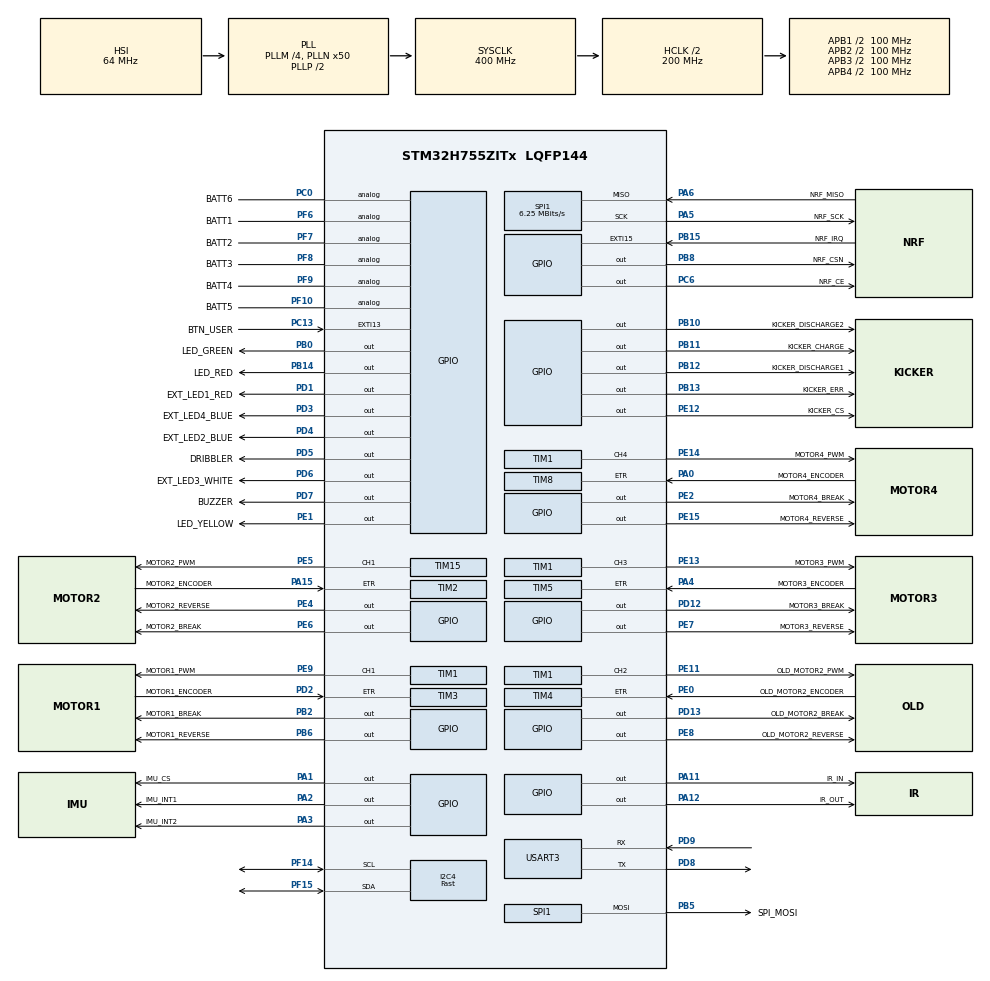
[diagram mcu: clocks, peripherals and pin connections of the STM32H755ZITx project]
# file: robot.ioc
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CortexM4.IPs=CORTEX_M4\:I,DEBUG,FATFS_M4\:I,FREERTOS_M4\:I,IWDG2\:I,OPENAMP_M4\:I,PDM2PCM_M4\:I,PWR,RCC,RESMGR_UTILITY,SYS_M4\:I,USB_DEVICE_M4\:I,USB_HOST_M4\:I,VREFBUF,WWDG2\:I,GPIO,DMA,BDMA,MDMA,NVIC2\:I
CortexM7.IPs=CORTEX_M7\:I,DEBUG\:I,FATFS_M7\:I,FREERTOS_M7\:I,IWDG1\:I,OPENAMP_M7\:I,PDM2PCM_M7\:I,PWR\:I,RCC\:I,RESMGR_UTILITY\:I,SYS\:I,USB_DEVICE_M7\:I,USB_HOST_M7\:I,VREFBUF\:I,WWDG1\:I,GPIO\:I,DMA\:I,BDMA\:I,MDMA\:I,NVIC1\:I,USART3\:I,ADC3\:I,TIM1\:I,SPI1\:I,TIM3\:I,TIM4\:I,TIM5\:I,TIM8\:I,TIM12\:I,TIM15\:I,TIM2\:I,I2C4\:I
CortexM7.Pins=PE2,PE4,PE6,PC13,PB0,PB2,PE7,PE8,PE15,PB10,PB11,PB12,PB14,PB15,PD12,PD13,PC6,PD5,PB6,PB8,PE1
I2C4.I2C_Speed_Mode=I2C_Fast
I2C4.Timing=0x009034B6
Mcu.Family=STM32H7
Mcu.Name=STM32H755ZITx
Mcu.Package=LQFP144
NVIC1.EXTI15_10_IRQn=true\:7\:0\:true\:false\:true\:true\:true\:true
NVIC1.PriorityGroup=NVIC_PRIORITYGROUP_4
NVIC1.TIM8_BRK_TIM12_IRQn=true\:0\:0\:false\:false\:true\:true\:true\:true
NVIC1.USART3_IRQn=true\:0\:0\:false\:false\:true\:true\:true\:true
NVIC2.PriorityGroup=NVIC_PRIORITYGROUP_4
PA0.GPIO_Label=MOTOR4_ENCODER
PA0.PinAttribute=CortexM7
PA0.Signal=S_TIM8_ETR
PA1.GPIO_Label=IMU_CS
PA1.PinAttribute=Free
PA1.Signal=GPIO_Output
PA11.GPIO_Label=IR_IN
PA11.PinAttribute=Free
PA11.Signal=GPIO_Output
PA12.GPIO_Label=IR_OUT
PA12.PinAttribute=Free
PA12.Signal=GPIO_Output
PA15\ (JTDI).GPIO_Label=MOTOR2_ENCODER
PA15\ (JTDI).PinAttribute=CortexM7
PA15\ (JTDI).Signal=S_TIM2_CH1_ETR
PA2.GPIO_Label=IMU_INT1
PA2.PinAttribute=Free
PA2.Signal=GPIO_Output
PA3.GPIO_Label=IMU_INT2
PA3.PinAttribute=Free
PA3.Signal=GPIO_Output
PA4.GPIO_Label=MOTOR3_ENCODER
PA4.PinAttribute=CortexM7
PA4.Signal=S_TIM5_ETR
PA5.GPIO_Label=NRF_SCK
PA5.Mode=Full_Duplex_Master
PA5.PinAttribute=CortexM7
PA5.Signal=SPI1_SCK
PA6.GPIO_Label=NRF_MISO
PA6.Mode=Full_Duplex_Master
PA6.PinAttribute=CortexM7
PA6.Signal=SPI1_MISO
PB0.GPIO_Label=LED_GREEN
PB0.PinAttribute=CortexM7
PB0.Signal=GPIO_Output
PB10.GPIO_Label=KICKER_DISCHARGE2
PB10.PinAttribute=CortexM7
PB10.PinState=GPIO_PIN_SET
PB10.Signal=GPIO_Output
PB11.GPIO_Label=KICKER_CHARGE
PB11.PinAttribute=CortexM7
PB11.Signal=GPIO_Output
PB12.GPIO_Label=KICKER_DISCHARGE1
PB12.PinAttribute=CortexM7
PB12.PinState=GPIO_PIN_SET
PB12.Signal=GPIO_Output
PB13.GPIO_Label=KICKER_ERR
PB13.PinAttribute=Free
PB13.Signal=GPIO_Output
PB14.GPIO_Label=LED_RED
PB14.PinAttribute=CortexM7
PB14.PinState=GPIO_PIN_RESET
PB14.Signal=GPIO_Output
PB15.GPIO_Label=NRF_IRQ
PB15.GPIO_ModeDefaultEXTI=GPIO_MODE_IT_FALLING
PB15.PinAttribute=CortexM7
PB15.Signal=GPXTI15
PB2.GPIO_Label=MOTOR1_BREAK
PB2.PinAttribute=CortexM7
PB2.Signal=GPIO_Output
PB5.GPIO_Label=SPI_MOSI
PB5.Mode=Full_Duplex_Master
PB5.PinAttribute=CortexM7
PB5.Signal=SPI1_MOSI
PB6.GPIO_Label=MOTOR1_REVERSE
PB6.PinAttribute=CortexM7
PB6.Signal=GPIO_Output
PB8.GPIO_Label=NRF_CSN
PB8.PinAttribute=CortexM7
PB8.Signal=GPIO_Output
PC0.GPIO_Label=BATT6
PC0.PinAttribute=Free
PC0.Signal=GPIO_Analog
PC13.GPIO_Label=BTN_USER
PC13.PinAttribute=CortexM7
PC13.Signal=GPXTI13
PC6.GPIO_Label=NRF_CE
PC6.PinAttribute=CortexM7
PC6.Signal=GPIO_Output
PD1.GPIO_Label=EXT_LED1_RED
PD1.PinAttribute=Free
PD1.Signal=GPIO_Output
PD12.GPIO_Label=MOTOR3_BREAK
PD12.PinAttribute=CortexM7
PD12.Signal=GPIO_Output
PD13.GPIO_Label=OLD_MOTOR2_BREAK
PD13.PinAttribute=CortexM7
PD13.Signal=GPIO_Output
PD2.GPIO_Label=MOTOR1_ENCODER
PD2.PinAttribute=CortexM7
PD2.Signal=S_TIM3_ETR
PD3.GPIO_Label=EXT_LED4_BLUE
PD3.PinAttribute=Free
PD3.Signal=GPIO_Output
PD4.GPIO_Label=EXT_LED2_BLUE
PD4.PinAttribute=Free
PD4.Signal=GPIO_Output
PD5.GPIO_Label=DRIBBLER
PD5.PinAttribute=CortexM7
PD5.Signal=GPIO_Output
PD6.GPIO_Label=EXT_LED3_WHITE
PD6.PinAttribute=Free
PD6.Signal=GPIO_Output
PD7.GPIO_Label=BUZZER
PD7.Signal=GPIO_Output
PD8.GPIO_Speed=GPIO_SPEED_FREQ_LOW
PD8.Mode=Asynchronous
PD8.PinAttribute=CortexM7
PD8.Signal=USART3_TX
PD9.GPIO_Speed=GPIO_SPEED_FREQ_LOW
PD9.Mode=Asynchronous
PD9.PinAttribute=CortexM7
PD9.Signal=USART3_RX
PE0.GPIO_Label=OLD_MOTOR2_ENCODER
PE0.PinAttribute=CortexM7
PE0.Signal=S_TIM4_ETR
PE1.GPIO_Label=LED_YELLOW
PE1.PinAttribute=CortexM7
PE1.PinState=GPIO_PIN_SET
PE1.Signal=GPIO_Output
PE11.GPIO_Label=OLD_MOTOR2_PWM
PE11.PinAttribute=CortexM7
PE11.Signal=S_TIM1_CH2
PE12.GPIO_Label=KICKER_CS
PE12.PinAttribute=Free
PE12.Signal=GPIO_Output
PE13.GPIO_Label=MOTOR3_PWM
PE13.PinAttribute=CortexM7
PE13.Signal=S_TIM1_CH3
PE14.GPIO_Label=MOTOR4_PWM
PE14.PinAttribute=CortexM7
PE14.Signal=S_TIM1_CH4
PE15.GPIO_Label=MOTOR4_REVERSE
PE15.PinAttribute=CortexM7
PE15.Signal=GPIO_Output
PE2.GPIO_Label=MOTOR4_BREAK
PE2.PinAttribute=CortexM7
PE2.Signal=GPIO_Output
PE4.GPIO_Label=MOTOR2_REVERSE
PE4.PinAttribute=CortexM7
PE4.Signal=GPIO_Output
PE5.GPIO_Label=MOTOR2_PWM
PE5.PinAttribute=CortexM7
PE5.Signal=S_TIM15_CH1
PE6.GPIO_Label=MOTOR2_BREAK
PE6.PinAttribute=CortexM7
PE6.Signal=GPIO_Output
PE7.GPIO_Label=MOTOR3_REVERSE
PE7.PinAttribute=CortexM7
PE7.Signal=GPIO_Output
PE8.GPIO_Label=OLD_MOTOR2_REVERSE
PE8.PinAttribute=CortexM7
PE8.Signal=GPIO_Output
PE9.GPIO_Label=MOTOR1_PWM
PE9.PinAttribute=CortexM7
PE9.Signal=S_TIM1_CH1
PF10.GPIO_Label=BATT5
PF10.PinAttribute=Free
PF10.Signal=GPIO_Analog
PF14.Mode=I2C
PF14.PinAttribute=CortexM7
PF14.Signal=I2C4_SCL
PF15.Mode=I2C
PF15.PinAttribute=CortexM7
PF15.Signal=I2C4_SDA
PF6.GPIO_Label=BATT1
PF6.PinAttribute=Free
PF6.Signal=GPIO_Analog
PF7.GPIO_Label=BATT2
PF7.PinAttribute=Free
PF7.Signal=GPIO_Analog
PF8.GPIO_Label=BATT3
PF8.PinAttribute=Free
PF8.Signal=GPIO_Analog
PF9.GPIO_Label=BATT4
PF9.PinAttribute=Free
PF9.Signal=GPIO_Analog
ProjectManager.HeapSize=M4-0x200,M7-0x200
ProjectManager.StackSize=M4-0x400,M7-0x400
ProjectManager.TargetToolchain=Makefile
RCC.ADCFreq_Value=129000000
RCC.APB1Freq_Value=100000000
RCC.APB2Freq_Value=100000000
RCC.APB3Freq_Value=100000000
RCC.APB4Freq_Value=100000000
RCC.CortexFreq_Value=400000000
RCC.D1PPRE=RCC_APB3_DIV2
RCC.D2PPRE1=RCC_APB1_DIV2
RCC.D2PPRE2=RCC_APB2_DIV2
RCC.D3PPRE=RCC_APB4_DIV2
RCC.DIVM1=4
RCC.DIVN1=50
RCC.DIVQ1=4
RCC.HCLKFreq_Value=200000000
RCC.HPRE=RCC_HCLK_DIV2
RCC.PLL2FRACN=0
RCC.PLL3FRACN=0
RCC.PLLFRACN=0
RCC.SYSCLKFreq_VALUE=400000000
RCC.SYSCLKSource=RCC_SYSCLKSOURCE_PLLCLK
RCC.USART234578CLockSelection=RCC_USART234578CLKSOURCE_HSI
RCC.USBFreq_Value=200000000
SH.S_TIM15_CH1.0=TIM15_CH1,PWM Generation1 CH1
SH.S_TIM1_CH1.0=TIM1_CH1,PWM Generation1 CH1
SH.S_TIM1_CH2.0=TIM1_CH2,PWM Generation2 CH2
SH.S_TIM1_CH3.0=TIM1_CH3,PWM Generation3 CH3
SH.S_TIM1_CH4.0=TIM1_CH4,PWM Generation4 CH4
SH.S_TIM2_CH1_ETR.0=TIM2_ETR,ClockSourceETR_Mode2
SH.S_TIM3_ETR.0=TIM3_ETR,ClockSourceETR_Mode2
SH.S_TIM4_ETR.0=TIM4_ETR,ClockSourceETR_Mode2
SH.S_TIM5_ETR.0=TIM5_ETR,ClockSourceETR_Mode2
SH.S_TIM8_ETR.0=TIM8_ETR,ClockSourceETR_Mode2
SPI1.BaudRatePrescaler=SPI_BAUDRATEPRESCALER_32
SPI1.CalculateBaudRate=6.25 MBits/s
SPI1.DataSize=SPI_DATASIZE_8BIT
SPI1.Direction=SPI_DIRECTION_2LINES
SPI1.Mode=SPI_MODE_MASTER
SPI1.VirtualType=VM_MASTER
SYS.userName=SYS_M7
TIM1.Channel-PWM\ Generation1\ CH1=TIM_CHANNEL_1
TIM1.Channel-PWM\ Generation2\ CH2=TIM_CHANNEL_2
TIM1.Channel-PWM\ Generation3\ CH3=TIM_CHANNEL_3
TIM1.Channel-PWM\ Generation4\ CH4=TIM_CHANNEL_4
TIM1.Period=1999
TIM1.Prescaler=0
TIM1.Pulse-PWM\ Generation1\ CH1=0
TIM1.Pulse-PWM\ Generation3\ CH3=0
TIM1.Pulse-PWM\ Generation4\ CH4=0
TIM12.Period=9999
TIM12.Prescaler=19
TIM15.Channel-PWM\ Generation1\ CH1=TIM_CHANNEL_1
TIM15.Period=1999
TIM8.Period=65535
TIM8.Prescaler=0
USART3.ClockPrescaler=PRESCALER_DIV32
USART3.VirtualMode-Asynchronous=VM_ASYNC
VP_SYS_M4_VS_Systick.Mode=SysTick
VP_TIM12_VS_ClockSourceINT.Mode=Internal
VP_TIM12_VS_ClockSourceITR.Mode=TriggerSource_ITR0
board=custom

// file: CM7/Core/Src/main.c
/* USER CODE BEGIN Header */
/**
 ******************************************************************************
 * @file           : main.c
 * @brief          : Main program body
 ******************************************************************************
 * @attention
 *
 * Copyright (c) 2023 STMicroelectronics.
 * All rights reserved.
 *
 * This software is licensed under terms that can be found in the LICENSE file
 * in the root directory of this software component.
 * If no LICENSE file comes with this software, it is provided AS-IS.
 *
 ******************************************************************************
 */
/* USER CODE END Header */
#include "main.h"

/* USER CODE BEGIN Includes */
#include "com.h"
#include "imu.h"
#include "kicker.h"
#include "state_estimator.h"
#include "log.h"
#include "motor.h"
#include "nav.h"
#include "stm32h7xx_hal_gpio.h"
#include "ui.h"
#include "pos_follow.h"
#include "state_estimator.h"
/* USER CODE END Includes */

/* USER CODE BEGIN PD */
#ifndef HSEM_ID_0
#define HSEM_ID_0 (0U) /* HW semaphore 0*/
#endif
/* USER CODE END PD */

I2C_HandleTypeDef hi2c4;

SPI_HandleTypeDef hspi1;

TIM_HandleTypeDef htim1;
TIM_HandleTypeDef htim2;
TIM_HandleTypeDef htim3;
TIM_HandleTypeDef htim4;
TIM_HandleTypeDef htim5;
TIM_HandleTypeDef htim8;
TIM_HandleTypeDef htim12;
TIM_HandleTypeDef htim15;

UART_HandleTypeDef huart3;

/* USER CODE BEGIN PV */

I2C_HandleTypeDef hi2c4; // For IMU

/**
 * Used to set tasks to be performed within the main
 * loop of the firmware. It's written to whenever we
 * want to queue such a task (see com.c).
 */
volatile atomic_uint main_tasks;

volatile atomic_uint connected = 0;

uint8_t NRF_AVAILABLE = 0;

static LOG_Module internal_log_mod;
/* USER CODE END PV */

void SystemClock_Config(void);
static void MX_GPIO_Init(void);
static void MX_USART3_UART_Init(void);
static void MX_TIM1_Init(void);
static void MX_SPI1_Init(void);
static void MX_TIM3_Init(void);
static void MX_TIM5_Init(void);
static void MX_TIM8_Init(void);
static void MX_TIM12_Init(void);
static void MX_TIM2_Init(void);
static void MX_TIM15_Init(void);
static void MX_TIM4_Init(void);
static void MX_I2C4_Init(void);
/* USER CODE BEGIN PFP */

static void I2C4_Init(void);

/* USER CODE END PFP */

/* USER CODE BEGIN 0 */
// Handle callbacks
void HAL_GPIO_EXTI_Callback(uint16_t GPIO_Pin) {
  __disable_irq();
  switch (GPIO_Pin) {
  case BTN_USER_Pin:
    COM_RF_PrintInfo();
    break;
  case NRF_IRQ_Pin:
    COM_RF_HandleIRQ();
    break;
  default:
    LOG_WARNING("Unhandled interrupt on pin %d...\r\n", GPIO_Pin);
    break;
  }
  __enable_irq();
}

void HAL_UART_RxCpltCallback(UART_HandleTypeDef *huart) { UI_RxCallback(); }
/* USER CODE END 0 */

int main(void)
{
  /* USER CODE BEGIN 1 */
  IMU_AccelVec3 acc;
  IMU_GyroVec3 gyr;

  /* USER CODE END 1 */
/* USER CODE BEGIN Boot_Mode_Sequence_0 */

/* USER CODE END Boot_Mode_Sequence_0 */

/* USER CODE BEGIN Boot_Mode_Sequence_1 */

/* USER CODE END Boot_Mode_Sequence_1 */
  /* MCU Configuration--------------------------------------------------------*/

  /* Reset of all peripherals, Initializes the Flash interface and the Systick. */
  HAL_Init();

  /* Configure the system clock */
  SystemClock_Config();
/* USER CODE BEGIN Boot_Mode_Sequence_2 */
  /* When system initialization is finished, Cortex-M7 will release Cortex-M4 by
  means of HSEM notification */
  /*HW semaphore Clock enable*/
  __HAL_RCC_HSEM_CLK_ENABLE();
  /*Take HSEM */
  HAL_HSEM_FastTake(HSEM_ID_0);
  /*Release HSEM in order to notify the CPU2(CM4)*/
  HAL_HSEM_Release(HSEM_ID_0, 0);
  /* wait until CPU2 wakes up from stop mode */
  int32_t timeout = 0xFFFF;
  while ((__HAL_RCC_GET_FLAG(RCC_FLAG_D2CKRDY) == RESET) && (timeout-- > 0))
    ;
  if (timeout < 0) {
    Error_Handler();
  }
/* USER CODE END Boot_Mode_Sequence_2 */

  /* Initialize all configured peripherals */
  MX_GPIO_Init();
  MX_USART3_UART_Init();
  MX_TIM1_Init();
  MX_SPI1_Init();
  MX_TIM3_Init();
  MX_TIM5_Init();
  MX_TIM8_Init();
  MX_TIM12_Init();
  MX_TIM2_Init();
  MX_TIM15_Init();
  MX_TIM4_Init();
  MX_I2C4_Init();
  /* USER CODE BEGIN 2 */

  // Initialise modules
  LOG_Init(&huart3);
  LOG_InitModule(&internal_log_mod, "MAIN", LOG_LEVEL_INFO, 0);
  LOG_INFO("My ID is %i (%li %li %li)\r\n", COM_Get_ID(), HAL_GetUIDw0(), HAL_GetUIDw1(), HAL_GetUIDw2());
  POS_Init();
#ifdef PCB_MOTOR
  NAV_Init(&htim12, &htim1, &htim15, &htim3, &htim2, &htim5, &htim8);
#else
  NAV_Init(&htim12, &htim1, &htim15, &htim3, &htim4, &htim5, &htim8);
#endif
  MOTOR_Init(&htim1);
  KICKER_Init();
  IMU_Init(&hi2c4);
  STATE_Init();
  STATE_calibrate_imu_gyr();
  UI_Init(&huart3);
  COM_Init(&hspi1, &NRF_AVAILABLE);

  HAL_GPIO_WritePin(LED_YELLOW_GPIO_Port, LED_YELLOW_Pin, GPIO_PIN_RESET);
  HAL_GPIO_WritePin(LED_GREEN_GPIO_Port, LED_GREEN_Pin, GPIO_PIN_SET);
  LOG_INFO("Startup done\r\n");
  /* USER CODE END 2 */

  /* Infinite loop */
  /* USER CODE BEGIN WHILE */

  uint32_t now = HAL_GetTick();
  bool on = false;

  while (1) {
    NAV_TEST_Set_robot_cmd(1.f, 0.f, 0.f);
    continue;
    if (HAL_GetTick() - now > 1000) {
      if (on) {
        HAL_GPIO_WritePin(LED_YELLOW_GPIO_Port, LED_YELLOW_Pin, GPIO_PIN_RESET);
      } else {
        HAL_GPIO_WritePin(LED_YELLOW_GPIO_Port, LED_YELLOW_Pin, GPIO_PIN_SET);
      }
      on = !on;
      now = HAL_GetTick();
    }

    /* USER CODE END WHILE */

  }
}

void SystemClock_Config(void)
{
  RCC_OscInitTypeDef RCC_OscInitStruct = {0};
  RCC_ClkInitTypeDef RCC_ClkInitStruct = {0};

  /** Supply configuration update enable
  */
  HAL_PWREx_ConfigSupply(PWR_DIRECT_SMPS_SUPPLY);

  /** Configure the main internal regulator output voltage
  */
  __HAL_PWR_VOLTAGESCALING_CONFIG(PWR_REGULATOR_VOLTAGE_SCALE1);

  while(!__HAL_PWR_GET_FLAG(PWR_FLAG_VOSRDY)) {}

  /** Initializes the RCC Oscillators according to the specified parameters
  * in the RCC_OscInitTypeDef structure.
  */
  RCC_OscInitStruct.OscillatorType = RCC_OSCILLATORTYPE_HSI;
  RCC_OscInitStruct.HSIState = RCC_HSI_DIV1;
  RCC_OscInitStruct.HSICalibrationValue = RCC_HSICALIBRATION_DEFAULT;
  RCC_OscInitStruct.PLL.PLLState = RCC_PLL_ON;
  RCC_OscInitStruct.PLL.PLLSource = RCC_PLLSOURCE_HSI;
  RCC_OscInitStruct.PLL.PLLM = 4;
  RCC_OscInitStruct.PLL.PLLN = 50;
  RCC_OscInitStruct.PLL.PLLP = 2;
  RCC_OscInitStruct.PLL.PLLQ = 4;
  RCC_OscInitStruct.PLL.PLLR = 2;
  RCC_OscInitStruct.PLL.PLLRGE = RCC_PLL1VCIRANGE_3;
  RCC_OscInitStruct.PLL.PLLVCOSEL = RCC_PLL1VCOWIDE;
  RCC_OscInitStruct.PLL.PLLFRACN = 0;
  if (HAL_RCC_OscConfig(&RCC_OscInitStruct) != HAL_OK)
  {
    Error_Handler();
  }

  /** Initializes the CPU, AHB and APB buses clocks
  */
  RCC_ClkInitStruct.ClockType = RCC_CLOCKTYPE_HCLK|RCC_CLOCKTYPE_SYSCLK
                              |RCC_CLOCKTYPE_PCLK1|RCC_CLOCKTYPE_PCLK2
                              |RCC_CLOCKTYPE_D3PCLK1|RCC_CLOCKTYPE_D1PCLK1;
  RCC_ClkInitStruct.SYSCLKSource = RCC_SYSCLKSOURCE_PLLCLK;
  RCC_ClkInitStruct.SYSCLKDivider = RCC_SYSCLK_DIV1;
  RCC_ClkInitStruct.AHBCLKDivider = RCC_HCLK_DIV2;
  RCC_ClkInitStruct.APB3CLKDivider = RCC_APB3_DIV2;
  RCC_ClkInitStruct.APB1CLKDivider = RCC_APB1_DIV2;
  RCC_ClkInitStruct.APB2CLKDivider = RCC_APB2_DIV2;
  RCC_ClkInitStruct.APB4CLKDivider = RCC_APB4_DIV2;

  if (HAL_RCC_ClockConfig(&RCC_ClkInitStruct, FLASH_LATENCY_2) != HAL_OK)
  {
    Error_Handler();
  }
}

static void MX_I2C4_Init(void)
{

  /* USER CODE BEGIN I2C4_Init 0 */
/* Initialize I2C for IMU */
  __HAL_RCC_I2C4_CLK_ENABLE();

  hi2c4.Instance = I2C4;
  hi2c4.Init.Timing = 0x009034B6; // 0x10C0ECFF;
  hi2c4.Init.OwnAddress1 = 0;
  hi2c4.Init.AddressingMode = I2C_ADDRESSINGMODE_7BIT;
  hi2c4.Init.DualAddressMode = I2C_DUALADDRESS_DISABLE;
  hi2c4.Init.GeneralCallMode = I2C_GENERALCALL_DISABLE;
  hi2c4.Init.NoStretchMode = I2C_NOSTRETCH_DISABLE;

  if (HAL_I2C_Init(&hi2c4) != HAL_OK) {
    Error_Handler();
  }

  if (HAL_I2CEx_ConfigAnalogFilter(&hi2c4, I2C_ANALOGFILTER_ENABLE) != HAL_OK) {
    Error_Handler();
  }

  if (HAL_I2CEx_ConfigDigitalFilter(&hi2c4, 0) != HAL_OK) {
    Error_Handler();
  }
  /* USER CODE END I2C4_Init 0 */

  hi2c4.Instance = I2C4;
  hi2c4.Init.Timing = 0x009034B6;
  hi2c4.Init.OwnAddress1 = 0;
  hi2c4.Init.AddressingMode = I2C_ADDRESSINGMODE_7BIT;
  hi2c4.Init.DualAddressMode = I2C_DUALADDRESS_DISABLE;
  hi2c4.Init.OwnAddress2 = 0;
  hi2c4.Init.OwnAddress2Masks = I2C_OA2_NOMASK;
  hi2c4.Init.GeneralCallMode = I2C_GENERALCALL_DISABLE;
  hi2c4.Init.NoStretchMode = I2C_NOSTRETCH_DISABLE;
  if (HAL_I2C_Init(&hi2c4) != HAL_OK)
  {
    Error_Handler();
  }

  /** Configure Analogue filter
  */
  if (HAL_I2CEx_ConfigAnalogFilter(&hi2c4, I2C_ANALOGFILTER_ENABLE) != HAL_OK)
  {
    Error_Handler();
  }

  /** Configure Digital filter
  */
  if (HAL_I2CEx_ConfigDigitalFilter(&hi2c4, 0) != HAL_OK)
  {
    Error_Handler();
  }

}

static void MX_SPI1_Init(void)
{

  /* SPI1 parameter configuration*/
  hspi1.Instance = SPI1;
  hspi1.Init.Mode = SPI_MODE_MASTER;
  hspi1.Init.Direction = SPI_DIRECTION_2LINES;
  hspi1.Init.DataSize = SPI_DATASIZE_8BIT;
  hspi1.Init.CLKPolarity = SPI_POLARITY_LOW;
  hspi1.Init.CLKPhase = SPI_PHASE_1EDGE;
  hspi1.Init.NSS = SPI_NSS_SOFT;
  hspi1.Init.BaudRatePrescaler = SPI_BAUDRATEPRESCALER_32;
  hspi1.Init.FirstBit = SPI_FIRSTBIT_MSB;
  hspi1.Init.TIMode = SPI_TIMODE_DISABLE;
  hspi1.Init.CRCCalculation = SPI_CRCCALCULATION_DISABLE;
  hspi1.Init.CRCPolynomial = 0x0;
  hspi1.Init.NSSPMode = SPI_NSS_PULSE_ENABLE;
  hspi1.Init.NSSPolarity = SPI_NSS_POLARITY_LOW;
  hspi1.Init.FifoThreshold = SPI_FIFO_THRESHOLD_01DATA;
  hspi1.Init.TxCRCInitializationPattern = SPI_CRC_INITIALIZATION_ALL_ZERO_PATTERN;
  hspi1.Init.RxCRCInitializationPattern = SPI_CRC_INITIALIZATION_ALL_ZERO_PATTERN;
  hspi1.Init.MasterSSIdleness = SPI_MASTER_SS_IDLENESS_00CYCLE;
  hspi1.Init.MasterInterDataIdleness = SPI_MASTER_INTERDATA_IDLENESS_00CYCLE;
  hspi1.Init.MasterReceiverAutoSusp = SPI_MASTER_RX_AUTOSUSP_DISABLE;
  hspi1.Init.MasterKeepIOState = SPI_MASTER_KEEP_IO_STATE_DISABLE;
  hspi1.Init.IOSwap = SPI_IO_SWAP_DISABLE;
  if (HAL_SPI_Init(&hspi1) != HAL_OK)
  {
    Error_Handler();
  }

}

static void MX_TIM1_Init(void)
{

  TIM_MasterConfigTypeDef sMasterConfig = {0};
  TIM_OC_InitTypeDef sConfigOC = {0};
  TIM_BreakDeadTimeConfigTypeDef sBreakDeadTimeConfig = {0};

  htim1.Instance = TIM1;
  htim1.Init.Prescaler = 0;
  htim1.Init.CounterMode = TIM_COUNTERMODE_UP;
  htim1.Init.Period = 1999;
  htim1.Init.ClockDivision = TIM_CLOCKDIVISION_DIV1;
  htim1.Init.RepetitionCounter = 0;
  htim1.Init.AutoReloadPreload = TIM_AUTORELOAD_PRELOAD_DISABLE;
  if (HAL_TIM_PWM_Init(&htim1) != HAL_OK)
  {
    Error_Handler();
  }
  sMasterConfig.MasterOutputTrigger = TIM_TRGO_RESET;
  sMasterConfig.MasterOutputTrigger2 = TIM_TRGO2_RESET;
  sMasterConfig.MasterSlaveMode = TIM_MASTERSLAVEMODE_DISABLE;
  if (HAL_TIMEx_MasterConfigSynchronization(&htim1, &sMasterConfig) != HAL_OK)
  {
    Error_Handler();
  }
  sConfigOC.OCMode = TIM_OCMODE_PWM1;
  sConfigOC.Pulse = 0;
  sConfigOC.OCPolarity = TIM_OCPOLARITY_HIGH;
  sConfigOC.OCNPolarity = TIM_OCNPOLARITY_HIGH;
  sConfigOC.OCFastMode = TIM_OCFAST_DISABLE;
  sConfigOC.OCIdleState = TIM_OCIDLESTATE_RESET;
  sConfigOC.OCNIdleState = TIM_OCNIDLESTATE_RESET;
  if (HAL_TIM_PWM_ConfigChannel(&htim1, &sConfigOC, TIM_CHANNEL_1) != HAL_OK)
  {
    Error_Handler();
  }
  if (HAL_TIM_PWM_ConfigChannel(&htim1, &sConfigOC, TIM_CHANNEL_2) != HAL_OK)
  {
    Error_Handler();
  }
  if (HAL_TIM_PWM_ConfigChannel(&htim1, &sConfigOC, TIM_CHANNEL_3) != HAL_OK)
  {
    Error_Handler();
  }
  if (HAL_TIM_PWM_ConfigChannel(&htim1, &sConfigOC, TIM_CHANNEL_4) != HAL_OK)
  {
    Error_Handler();
  }
  sBreakDeadTimeConfig.OffStateRunMode = TIM_OSSR_DISABLE;
  sBreakDeadTimeConfig.OffStateIDLEMode = TIM_OSSI_DISABLE;
  sBreakDeadTimeConfig.LockLevel = TIM_LOCKLEVEL_OFF;
  sBreakDeadTimeConfig.DeadTime = 0;
  sBreakDeadTimeConfig.BreakState = TIM_BREAK_DISABLE;
  sBreakDeadTimeConfig.BreakPolarity = TIM_BREAKPOLARITY_HIGH;
  sBreakDeadTimeConfig.BreakFilter = 0;
  sBreakDeadTimeConfig.Break2State = TIM_BREAK2_DISABLE;
  sBreakDeadTimeConfig.Break2Polarity = TIM_BREAK2POLARITY_HIGH;
  sBreakDeadTimeConfig.Break2Filter = 0;
  sBreakDeadTimeConfig.AutomaticOutput = TIM_AUTOMATICOUTPUT_DISABLE;
  if (HAL_TIMEx_ConfigBreakDeadTime(&htim1, &sBreakDeadTimeConfig) != HAL_OK)
  {
    Error_Handler();
  }
  HAL_TIM_MspPostInit(&htim1);

}

static void MX_TIM2_Init(void)
{

  TIM_ClockConfigTypeDef sClockSourceConfig = {0};
  TIM_MasterConfigTypeDef sMasterConfig = {0};

  htim2.Instance = TIM2;
  htim2.Init.Prescaler = 0;
  htim2.Init.CounterMode = TIM_COUNTERMODE_UP;
  htim2.Init.Period = 4294967295;
  htim2.Init.ClockDivision = TIM_CLOCKDIVISION_DIV1;
  htim2.Init.AutoReloadPreload = TIM_AUTORELOAD_PRELOAD_DISABLE;
  if (HAL_TIM_Base_Init(&htim2) != HAL_OK)
  {
    Error_Handler();
  }
  sClockSourceConfig.ClockSource = TIM_CLOCKSOURCE_ETRMODE2;
  sClockSourceConfig.ClockPolarity = TIM_CLOCKPOLARITY_NONINVERTED;
  sClockSourceConfig.ClockPrescaler = TIM_CLOCKPRESCALER_DIV1;
  sClockSourceConfig.ClockFilter = 0;
  if (HAL_TIM_ConfigClockSource(&htim2, &sClockSourceConfig) != HAL_OK)
  {
    Error_Handler();
  }
  sMasterConfig.MasterOutputTrigger = TIM_TRGO_RESET;
  sMasterConfig.MasterSlaveMode = TIM_MASTERSLAVEMODE_DISABLE;
  if (HAL_TIMEx_MasterConfigSynchronization(&htim2, &sMasterConfig) != HAL_OK)
  {
    Error_Handler();
  }

}

static void MX_TIM3_Init(void)
{

  TIM_ClockConfigTypeDef sClockSourceConfig = {0};
  TIM_MasterConfigTypeDef sMasterConfig = {0};

  htim3.Instance = TIM3;
  htim3.Init.Prescaler = 0;
  htim3.Init.CounterMode = TIM_COUNTERMODE_UP;
  htim3.Init.Period = 65535;
  htim3.Init.ClockDivision = TIM_CLOCKDIVISION_DIV1;
  htim3.Init.AutoReloadPreload = TIM_AUTORELOAD_PRELOAD_DISABLE;
  if (HAL_TIM_Base_Init(&htim3) != HAL_OK)
  {
    Error_Handler();
  }
  sClockSourceConfig.ClockSource = TIM_CLOCKSOURCE_ETRMODE2;
  sClockSourceConfig.ClockPolarity = TIM_CLOCKPOLARITY_NONINVERTED;
  sClockSourceConfig.ClockPrescaler = TIM_CLOCKPRESCALER_DIV1;
  sClockSourceConfig.ClockFilter = 0;
  if (HAL_TIM_ConfigClockSource(&htim3, &sClockSourceConfig) != HAL_OK)
  {
    Error_Handler();
  }
  sMasterConfig.MasterOutputTrigger = TIM_TRGO_RESET;
  sMasterConfig.MasterSlaveMode = TIM_MASTERSLAVEMODE_DISABLE;
  if (HAL_TIMEx_MasterConfigSynchronization(&htim3, &sMasterConfig) != HAL_OK)
  {
    Error_Handler();
  }

}

static void MX_TIM4_Init(void)
{

  TIM_ClockConfigTypeDef sClockSourceConfig = {0};
  TIM_MasterConfigTypeDef sMasterConfig = {0};

  htim4.Instance = TIM4;
  htim4.Init.Prescaler = 0;
  htim4.Init.CounterMode = TIM_COUNTERMODE_UP;
  htim4.Init.Period = 65535;
  htim4.Init.ClockDivision = TIM_CLOCKDIVISION_DIV1;
  htim4.Init.AutoReloadPreload = TIM_AUTORELOAD_PRELOAD_DISABLE;
  if (HAL_TIM_Base_Init(&htim4) != HAL_OK)
  {
    Error_Handler();
  }
  sClockSourceConfig.ClockSource = TIM_CLOCKSOURCE_ETRMODE2;
  sClockSourceConfig.ClockPolarity = TIM_CLOCKPOLARITY_NONINVERTED;
  sClockSourceConfig.ClockPrescaler = TIM_CLOCKPRESCALER_DIV1;
  sClockSourceConfig.ClockFilter = 0;
  if (HAL_TIM_ConfigClockSource(&htim4, &sClockSourceConfig) != HAL_OK)
  {
    Error_Handler();
  }
  sMasterConfig.MasterOutputTrigger = TIM_TRGO_RESET;
  sMasterConfig.MasterSlaveMode = TIM_MASTERSLAVEMODE_DISABLE;
  if (HAL_TIMEx_MasterConfigSynchronization(&htim4, &sMasterConfig) != HAL_OK)
  {
    Error_Handler();
  }

}

static void MX_TIM5_Init(void)
{

  TIM_ClockConfigTypeDef sClockSourceConfig = {0};
  TIM_MasterConfigTypeDef sMasterConfig = {0};

  htim5.Instance = TIM5;
  htim5.Init.Prescaler = 0;
  htim5.Init.CounterMode = TIM_COUNTERMODE_UP;
  htim5.Init.Period = 4294967295;
  htim5.Init.ClockDivision = TIM_CLOCKDIVISION_DIV1;
  htim5.Init.AutoReloadPreload = TIM_AUTORELOAD_PRELOAD_DISABLE;
  if (HAL_TIM_Base_Init(&htim5) != HAL_OK)
  {
    Error_Handler();
  }
  sClockSourceConfig.ClockSource = TIM_CLOCKSOURCE_ETRMODE2;
  sClockSourceConfig.ClockPolarity = TIM_CLOCKPOLARITY_NONINVERTED;
  sClockSourceConfig.ClockPrescaler = TIM_CLOCKPRESCALER_DIV1;
  sClockSourceConfig.ClockFilter = 0;
  if (HAL_TIM_ConfigClockSource(&htim5, &sClockSourceConfig) != HAL_OK)
  {
    Error_Handler();
  }
  sMasterConfig.MasterOutputTrigger = TIM_TRGO_RESET;
  sMasterConfig.MasterSlaveMode = TIM_MASTERSLAVEMODE_DISABLE;
  if (HAL_TIMEx_MasterConfigSynchronization(&htim5, &sMasterConfig) != HAL_OK)
  {
    Error_Handler();
  }

}

static void MX_TIM8_Init(void)
{

  TIM_ClockConfigTypeDef sClockSourceConfig = {0};
  TIM_MasterConfigTypeDef sMasterConfig = {0};

  htim8.Instance = TIM8;
  htim8.Init.Prescaler = 0;
  htim8.Init.CounterMode = TIM_COUNTERMODE_UP;
  htim8.Init.Period = 65535;
  htim8.Init.ClockDivision = TIM_CLOCKDIVISION_DIV1;
  htim8.Init.RepetitionCounter = 0;
  htim8.Init.AutoReloadPreload = TIM_AUTORELOAD_PRELOAD_DISABLE;
  if (HAL_TIM_Base_Init(&htim8) != HAL_OK)
  {
    Error_Handler();
  }
  sClockSourceConfig.ClockSource = TIM_CLOCKSOURCE_ETRMODE2;
  sClockSourceConfig.ClockPolarity = TIM_CLOCKPOLARITY_NONINVERTED;
  sClockSourceConfig.ClockPrescaler = TIM_CLOCKPRESCALER_DIV1;
  sClockSourceConfig.ClockFilter = 0;
  if (HAL_TIM_ConfigClockSource(&htim8, &sClockSourceConfig) != HAL_OK)
  {
    Error_Handler();
  }
  sMasterConfig.MasterOutputTrigger = TIM_TRGO_RESET;
  sMasterConfig.MasterOutputTrigger2 = TIM_TRGO2_RESET;
  sMasterConfig.MasterSlaveMode = TIM_MASTERSLAVEMODE_DISABLE;
  if (HAL_TIMEx_MasterConfigSynchronization(&htim8, &sMasterConfig) != HAL_OK)
  {
    Error_Handler();
  }

}

static void MX_TIM12_Init(void)
{

  TIM_ClockConfigTypeDef sClockSourceConfig = {0};
  TIM_SlaveConfigTypeDef sSlaveConfig = {0};
  TIM_MasterConfigTypeDef sMasterConfig = {0};

  htim12.Instance = TIM12;
  htim12.Init.Prescaler = 19;
  htim12.Init.CounterMode = TIM_COUNTERMODE_UP;
  htim12.Init.Period = 9999;
  htim12.Init.ClockDivision = TIM_CLOCKDIVISION_DIV1;
  htim12.Init.AutoReloadPreload = TIM_AUTORELOAD_PRELOAD_DISABLE;
  if (HAL_TIM_Base_Init(&htim12) != HAL_OK)
  {
    Error_Handler();
  }
  sClockSourceConfig.ClockSource = TIM_CLOCKSOURCE_INTERNAL;
  if (HAL_TIM_ConfigClockSource(&htim12, &sClockSourceConfig) != HAL_OK)
  {
    Error_Handler();
  }
  sSlaveConfig.SlaveMode = TIM_SLAVEMODE_DISABLE;
  sSlaveConfig.InputTrigger = TIM_TS_ITR0;
  if (HAL_TIM_SlaveConfigSynchro(&htim12, &sSlaveConfig) != HAL_OK)
  {
    Error_Handler();
  }
  sMasterConfig.MasterOutputTrigger = TIM_TRGO_RESET;
  sMasterConfig.MasterSlaveMode = TIM_MASTERSLAVEMODE_DISABLE;
  if (HAL_TIMEx_MasterConfigSynchronization(&htim12, &sMasterConfig) != HAL_OK)
  {
    Error_Handler();
  }

}

static void MX_TIM15_Init(void)
{

  TIM_MasterConfigTypeDef sMasterConfig = {0};
  TIM_OC_InitTypeDef sConfigOC = {0};
  TIM_BreakDeadTimeConfigTypeDef sBreakDeadTimeConfig = {0};

  htim15.Instance = TIM15;
  htim15.Init.Prescaler = 0;
  htim15.Init.CounterMode = TIM_COUNTERMODE_UP;
  htim15.Init.Period = 1999;
  htim15.Init.ClockDivision = TIM_CLOCKDIVISION_DIV1;
  htim15.Init.RepetitionCounter = 0;
  htim15.Init.AutoReloadPreload = TIM_AUTORELOAD_PRELOAD_DISABLE;
  if (HAL_TIM_PWM_Init(&htim15) != HAL_OK)
  {
    Error_Handler();
  }
  sMasterConfig.MasterOutputTrigger = TIM_TRGO_RESET;
  sMasterConfig.MasterSlaveMode = TIM_MASTERSLAVEMODE_DISABLE;
  if (HAL_TIMEx_MasterConfigSynchronization(&htim15, &sMasterConfig) != HAL_OK)
  {
    Error_Handler();
  }
  sConfigOC.OCMode = TIM_OCMODE_PWM1;
  sConfigOC.Pulse = 0;
  sConfigOC.OCPolarity = TIM_OCPOLARITY_HIGH;
  sConfigOC.OCNPolarity = TIM_OCNPOLARITY_HIGH;
  sConfigOC.OCFastMode = TIM_OCFAST_DISABLE;
  sConfigOC.OCIdleState = TIM_OCIDLESTATE_RESET;
  sConfigOC.OCNIdleState = TIM_OCNIDLESTATE_RESET;
  if (HAL_TIM_PWM_ConfigChannel(&htim15, &sConfigOC, TIM_CHANNEL_1) != HAL_OK)
  {
    Error_Handler();
  }
  sBreakDeadTimeConfig.OffStateRunMode = TIM_OSSR_DISABLE;
  sBreakDeadTimeConfig.OffStateIDLEMode = TIM_OSSI_DISABLE;
  sBreakDeadTimeConfig.LockLevel = TIM_LOCKLEVEL_OFF;
  sBreakDeadTimeConfig.DeadTime = 0;
  sBreakDeadTimeConfig.BreakState = TIM_BREAK_DISABLE;
  sBreakDeadTimeConfig.BreakPolarity = TIM_BREAKPOLARITY_HIGH;
  sBreakDeadTimeConfig.BreakFilter = 0;
  sBreakDeadTimeConfig.AutomaticOutput = TIM_AUTOMATICOUTPUT_DISABLE;
  if (HAL_TIMEx_ConfigBreakDeadTime(&htim15, &sBreakDeadTimeConfig) != HAL_OK)
  {
    Error_Handler();
  }
  HAL_TIM_MspPostInit(&htim15);

}

static void MX_USART3_UART_Init(void)
{

  huart3.Instance = USART3;
  huart3.Init.BaudRate = 115200;
  huart3.Init.WordLength = UART_WORDLENGTH_8B;
  huart3.Init.StopBits = UART_STOPBITS_1;
  huart3.Init.Parity = UART_PARITY_NONE;
  huart3.Init.Mode = UART_MODE_TX_RX;
  huart3.Init.HwFlowCtl = UART_HWCONTROL_NONE;
  huart3.Init.OverSampling = UART_OVERSAMPLING_16;
  huart3.Init.OneBitSampling = UART_ONE_BIT_SAMPLE_DISABLE;
  huart3.Init.ClockPrescaler = UART_PRESCALER_DIV32;
  huart3.AdvancedInit.AdvFeatureInit = UART_ADVFEATURE_NO_INIT;
  if (HAL_UART_Init(&huart3) != HAL_OK)
  {
    Error_Handler();
  }
  if (HAL_UARTEx_SetTxFifoThreshold(&huart3, UART_TXFIFO_THRESHOLD_1_8) != HAL_OK)
  {
    Error_Handler();
  }
  if (HAL_UARTEx_SetRxFifoThreshold(&huart3, UART_RXFIFO_THRESHOLD_1_8) != HAL_OK)
  {
    Error_Handler();
  }
  if (HAL_UARTEx_DisableFifoMode(&huart3) != HAL_OK)
  {
    Error_Handler();
  }

}

static void MX_GPIO_Init(void)
{
  GPIO_InitTypeDef GPIO_InitStruct = {0};

  /* GPIO Ports Clock Enable */
  __HAL_RCC_GPIOE_CLK_ENABLE();
  __HAL_RCC_GPIOC_CLK_ENABLE();
  __HAL_RCC_GPIOA_CLK_ENABLE();
  __HAL_RCC_GPIOB_CLK_ENABLE();
  __HAL_RCC_GPIOF_CLK_ENABLE();
  __HAL_RCC_GPIOD_CLK_ENABLE();

  /*Configure GPIO pin Output Level */
  HAL_GPIO_WritePin(GPIOE, MOTOR4_BREAK_Pin|MOTOR2_REVERSE_Pin|MOTOR2_BREAK_Pin|MOTOR3_REVERSE_Pin
                          |OLD_MOTOR2_REVERSE_Pin|MOTOR4_REVERSE_Pin, GPIO_PIN_RESET);

  /*Configure GPIO pin Output Level */
  HAL_GPIO_WritePin(GPIOB, LED_GREEN_Pin|MOTOR1_BREAK_Pin|KICKER_CHARGE_Pin|LED_RED_Pin
                          |MOTOR1_REVERSE_Pin|NRF_CSN_Pin, GPIO_PIN_RESET);

  /*Configure GPIO pin Output Level */
  HAL_GPIO_WritePin(GPIOB, KICKER_DISCHARGE2_Pin|KICKER_DISCHARGE1_Pin, GPIO_PIN_SET);

  /*Configure GPIO pin Output Level */
  HAL_GPIO_WritePin(GPIOD, MOTOR3_BREAK_Pin|OLD_MOTOR2_BREAK_Pin|DRIBBLER_Pin, GPIO_PIN_RESET);

  /*Configure GPIO pin Output Level */
  HAL_GPIO_WritePin(NRF_CE_GPIO_Port, NRF_CE_Pin, GPIO_PIN_RESET);

  /*Configure GPIO pin Output Level */
  HAL_GPIO_WritePin(LED_YELLOW_GPIO_Port, LED_YELLOW_Pin, GPIO_PIN_SET);

  /*Configure GPIO pins : MOTOR4_BREAK_Pin MOTOR2_REVERSE_Pin MOTOR2_BREAK_Pin MOTOR3_REVERSE_Pin
                           OLD_MOTOR2_REVERSE_Pin MOTOR4_REVERSE_Pin LED_YELLOW_Pin */
  GPIO_InitStruct.Pin = MOTOR4_BREAK_Pin|MOTOR2_REVERSE_Pin|MOTOR2_BREAK_Pin|MOTOR3_REVERSE_Pin
                          |OLD_MOTOR2_REVERSE_Pin|MOTOR4_REVERSE_Pin|LED_YELLOW_Pin;
  GPIO_InitStruct.Mode = GPIO_MODE_OUTPUT_PP;
  GPIO_InitStruct.Pull = GPIO_NOPULL;
  GPIO_InitStruct.Speed = GPIO_SPEED_FREQ_LOW;
  HAL_GPIO_Init(GPIOE, &GPIO_InitStruct);

  /*Configure GPIO pin : BTN_USER_Pin */
  GPIO_InitStruct.Pin = BTN_USER_Pin;
  GPIO_InitStruct.Mode = GPIO_MODE_IT_RISING;
  GPIO_InitStruct.Pull = GPIO_NOPULL;
  HAL_GPIO_Init(BTN_USER_GPIO_Port, &GPIO_InitStruct);

  /*Configure GPIO pins : LED_GREEN_Pin MOTOR1_BREAK_Pin KICKER_DISCHARGE2_Pin KICKER_CHARGE_Pin
                           KICKER_DISCHARGE1_Pin LED_RED_Pin MOTOR1_REVERSE_Pin NRF_CSN_Pin */
  GPIO_InitStruct.Pin = LED_GREEN_Pin|MOTOR1_BREAK_Pin|KICKER_DISCHARGE2_Pin|KICKER_CHARGE_Pin
                          |KICKER_DISCHARGE1_Pin|LED_RED_Pin|MOTOR1_REVERSE_Pin|NRF_CSN_Pin;
  GPIO_InitStruct.Mode = GPIO_MODE_OUTPUT_PP;
  GPIO_InitStruct.Pull = GPIO_NOPULL;
  GPIO_InitStruct.Speed = GPIO_SPEED_FREQ_LOW;
  HAL_GPIO_Init(GPIOB, &GPIO_InitStruct);

  /*Configure GPIO pin : NRF_IRQ_Pin */
  GPIO_InitStruct.Pin = NRF_IRQ_Pin;
  GPIO_InitStruct.Mode = GPIO_MODE_IT_FALLING;
  GPIO_InitStruct.Pull = GPIO_NOPULL;
  HAL_GPIO_Init(NRF_IRQ_GPIO_Port, &GPIO_InitStruct);

  /*Configure GPIO pins : MOTOR3_BREAK_Pin OLD_MOTOR2_BREAK_Pin DRIBBLER_Pin */
  GPIO_InitStruct.Pin = MOTOR3_BREAK_Pin|OLD_MOTOR2_BREAK_Pin|DRIBBLER_Pin;
  GPIO_InitStruct.Mode = GPIO_MODE_OUTPUT_PP;
  GPIO_InitStruct.Pull = GPIO_NOPULL;
  GPIO_InitStruct.Speed = GPIO_SPEED_FREQ_LOW;
  HAL_GPIO_Init(GPIOD, &GPIO_InitStruct);

  /*Configure GPIO pin : NRF_CE_Pin */
  GPIO_InitStruct.Pin = NRF_CE_Pin;
  GPIO_InitStruct.Mode = GPIO_MODE_OUTPUT_PP;
  GPIO_InitStruct.Pull = GPIO_NOPULL;
  GPIO_InitStruct.Speed = GPIO_SPEED_FREQ_LOW;
  HAL_GPIO_Init(NRF_CE_GPIO_Port, &GPIO_InitStruct);

  /* EXTI interrupt init*/
  HAL_NVIC_SetPriority(EXTI15_10_IRQn, 7, 0);
  HAL_NVIC_EnableIRQ(EXTI15_10_IRQn);

/* USER CODE BEGIN MX_GPIO_Init_2 */

  /* Configure IMU_SCL_Pin */
  GPIO_InitStruct.Pin = IMU_SCL_Pin;
  GPIO_InitStruct.Mode = GPIO_MODE_AF_OD;
  GPIO_InitStruct.Pull = GPIO_NOPULL; // Pullup resistor is on IMU board
  GPIO_InitStruct.Speed = GPIO_SPEED_FREQ_HIGH;
  GPIO_InitStruct.Alternate = GPIO_AF4_I2C4;
  HAL_GPIO_Init(IMU_SCL_GPIO_Port, &GPIO_InitStruct);

  /* Configure IMU_SDA_Pin */
  GPIO_InitStruct.Pin = IMU_SDA_Pin;
  GPIO_InitStruct.Mode = GPIO_MODE_AF_OD;
  GPIO_InitStruct.Pull = GPIO_NOPULL; // Pullup resistor is on IMU board
  GPIO_InitStruct.Speed = GPIO_SPEED_FREQ_HIGH;
  GPIO_InitStruct.Alternate = GPIO_AF4_I2C4;
  HAL_GPIO_Init(IMU_SDA_GPIO_Port, &GPIO_InitStruct);

/* USER CODE END MX_GPIO_Init_2 */
}

void Error_Handler(void)
{
  /* USER CODE BEGIN Error_Handler_Debug */
  HAL_GPIO_WritePin(LED_RED_GPIO_Port, LED_RED_Pin, GPIO_PIN_SET);
  /* User can add his own implementation to report the HAL error return state */
  __disable_irq();
  while (1) {
  }
  /* USER CODE END Error_Handler_Debug */
}
